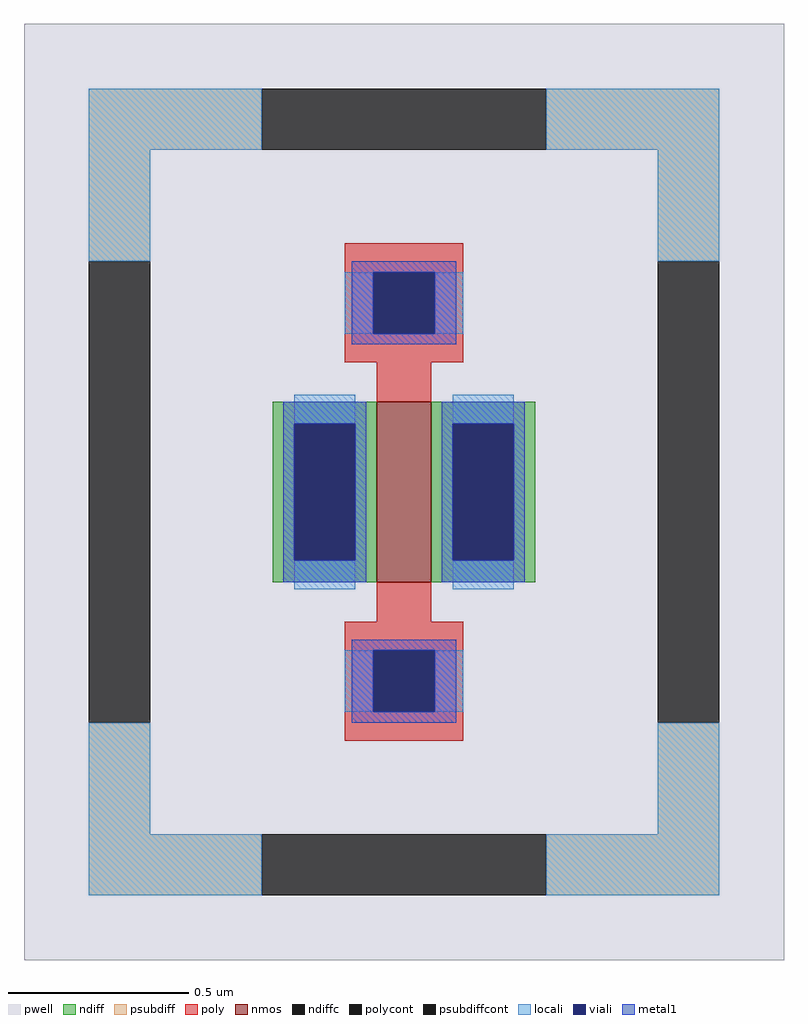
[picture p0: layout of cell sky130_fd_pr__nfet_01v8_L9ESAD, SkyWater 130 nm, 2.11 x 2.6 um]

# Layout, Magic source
magic
tech sky130A
magscale 1 2
<< pwell >>
rect -211 -260 211 260
<< nmos >>
rect -15 -50 15 50
<< ndiff >>
rect -73 38 -15 50
rect -73 -38 -61 38
rect -27 -38 -15 38
rect -73 -50 -15 -38
rect 15 38 73 50
rect 15 -38 27 38
rect 61 -38 73 38
rect 15 -50 73 -38
<< ndiffc >>
rect -61 -38 -27 38
rect 27 -38 61 38
<< psubdiff >>
rect -175 190 -79 224
rect 79 190 175 224
rect -175 128 -141 190
rect 141 128 175 190
rect -175 -190 -141 -128
rect 141 -190 175 -128
rect -175 -224 -79 -190
rect 79 -224 175 -190
<< psubdiffcont >>
rect -79 190 79 224
rect -175 -128 -141 128
rect 141 -128 175 128
rect -79 -224 79 -190
<< poly >>
rect -33 122 33 138
rect -33 88 -17 122
rect 17 88 33 122
rect -33 72 33 88
rect -15 50 15 72
rect -15 -72 15 -50
rect -33 -88 33 -72
rect -33 -122 -17 -88
rect 17 -122 33 -88
rect -33 -138 33 -122
<< polycont >>
rect -17 88 17 122
rect -17 -122 17 -88
<< locali >>
rect -175 190 -79 224
rect 79 190 175 224
rect -175 128 -141 190
rect 141 128 175 190
rect -33 88 -17 122
rect 17 88 33 122
rect -61 38 -27 54
rect -61 -54 -27 -38
rect 27 38 61 54
rect 27 -54 61 -38
rect -33 -122 -17 -88
rect 17 -122 33 -88
rect -175 -190 -141 -128
rect 141 -190 175 -128
rect -175 -224 -79 -190
rect 79 -224 175 -190
<< viali >>
rect -17 88 17 122
rect -61 -38 -27 38
rect 27 -38 61 38
rect -17 -122 17 -88
<< metal1 >>
rect -29 122 29 128
rect -29 88 -17 122
rect 17 88 29 122
rect -29 82 29 88
rect -67 38 -21 50
rect -67 -38 -61 38
rect -27 -38 -21 38
rect -67 -50 -21 -38
rect 21 38 67 50
rect 21 -38 27 38
rect 61 -38 67 38
rect 21 -50 67 -38
rect -29 -88 29 -82
rect -29 -122 -17 -88
rect 17 -122 29 -88
rect -29 -128 29 -122
<< properties >>
string FIXED_BBOX -158 -207 158 207
string gencell sky130_fd_pr__nfet_01v8
string library sky130
string parameters w 0.5 l 0.15 m 1 nf 1 diffcov 100 polycov 100 guard 1 glc 1 grc 1 gtc 1 gbc 1 tbcov 100 rlcov 100 topc 1 botc 1 poverlap 0 doverlap 1 lmin 0.15 wmin 0.42 compatible {sky130_fd_pr__nfet_01v8 sky130_fd_pr__nfet_01v8_lvt  sky130_fd_bs_flash__special_sonosfet_star  sky130_fd_pr__nfet_g5v0d10v5 sky130_fd_pr__nfet_05v0_nvt  sky130_fd_pr__nfet_03v3_nvt} full_metal 1 viasrc 100 viadrn 100 viagate 100 viagb 0 viagr 0 viagl 0 viagt 0
<< end >>
